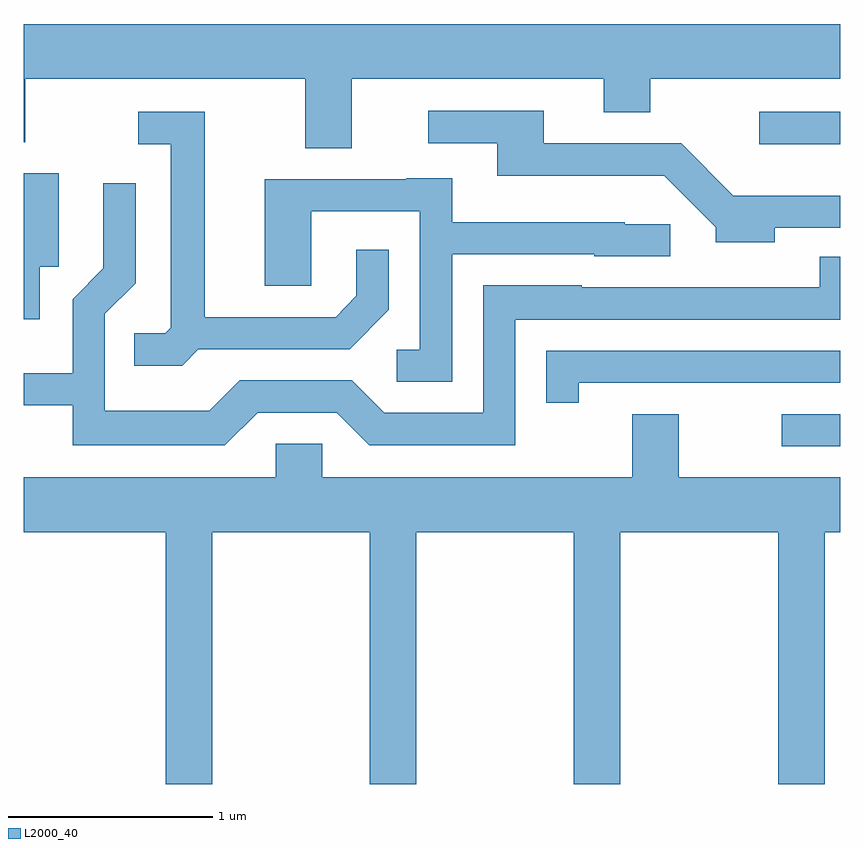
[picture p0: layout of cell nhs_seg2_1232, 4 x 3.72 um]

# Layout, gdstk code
import gdstk
lib = gdstk.Library(unit=1e-6, precision=1e-09)
def R(c, l, rs):  # rectangles x0, y0, x1, y1
    for r in rs: c.add(gdstk.rectangle(r[:2], r[2:], *l))
def P(c, l, *ps):  # polygons
    for p in ps: c.add(gdstk.Polygon(p, *l))
L2000_40 = (2000, 40)

nhs_seg2_1232 = lib.new_cell('nhs_seg2_1232')
R(nhs_seg2_1232, L2000_40, [(225.323,995.456,225.611,995.614), (225.213,996.936,225.611,997.094)])
P(nhs_seg2_1232, L2000_40, [(223.219,997.256),(224.451,997.256),(224.451,997.091),(224.679,997.091),(224.679,997.256),(225.611,997.256),(225.611,997.524),(221.611,997.524),(221.611,996.946),(221.619,996.946),(221.619,997.256),(222.991,997.256),(222.991,996.916),(223.219,996.916)],
  [(225.289,996.526),(225.611,996.526),(225.611,996.684),(225.087,996.684),(224.832,996.939),(224.159,996.939),(224.159,997.099),(223.593,997.099),(223.593,996.941),(223.931,996.941),(223.931,996.781),(224.749,996.781),(225.001,996.529),(225.001,996.456),(225.289,996.456)],
  [(222.467,995.931),(223.207,995.931),(223.399,996.124),(223.399,996.418),(223.241,996.418),(223.241,996.192),(223.139,996.089),(222.499,996.089),(222.499,997.094),(222.173,997.094),(222.173,996.936),(222.331,996.936),(222.331,996.037),(222.304,996.009),(222.153,996.009),(222.153,995.851),(222.387,995.851)],
  [(221.689,996.336),(221.784,996.336),(221.784,996.794),(221.611,996.794),(221.611,996.078),(221.689,996.078)],
  [(223.709,996.396),(224.405,996.396),(224.405,996.386),(224.778,996.386),(224.778,996.544),(224.555,996.544),(224.555,996.554),(223.709,996.554),(223.709,996.769),(223.485,996.769),(223.485,996.764),(222.791,996.764),(222.791,996.241),(223.019,996.241),(223.019,996.606),(223.551,996.606),(223.551,995.929),(223.438,995.929),(223.438,995.771),(223.709,995.771)],
  [(222.757,995.621),(223.144,995.621),(223.304,995.461),(224.019,995.461),(224.019,996.076),(225.611,996.076),(225.611,996.383),(225.511,996.383),(225.511,996.234),(224.345,996.234),(224.345,996.244),(223.861,996.244),(223.861,995.619),(223.377,995.619),(223.217,995.779),(222.669,995.779),(222.519,995.629),(222.009,995.629),(222.009,996.104),(222.159,996.254),(222.159,996.743),(222.001,996.743),(222.001,996.327),(221.851,996.177),(221.851,995.814),(221.611,995.814),(221.611,995.656),(221.851,995.656),(221.851,995.461),(222.597,995.461)],
  [(224.329,995.766),(225.611,995.766),(225.611,995.924),(224.171,995.924),(224.171,995.668),(224.329,995.668)],
  [(221.611,995.036),(222.306,995.036),(222.306,993.802),(222.534,993.802),(222.534,995.036),(223.306,995.036),(223.306,993.802),(223.534,993.802),(223.534,995.036),(224.306,995.036),(224.306,993.802),(224.534,993.802),(224.534,995.036),(225.306,995.036),(225.306,993.802),(225.534,993.802),(225.534,995.036),(225.611,995.036),(225.611,995.304),(224.819,995.304),(224.819,995.614),(224.591,995.614),(224.591,995.304),(223.074,995.304),(223.074,995.469),(222.846,995.469),(222.846,995.304),(221.611,995.304)])

lib.write_gds('nhs_seg2_1232.gds')
